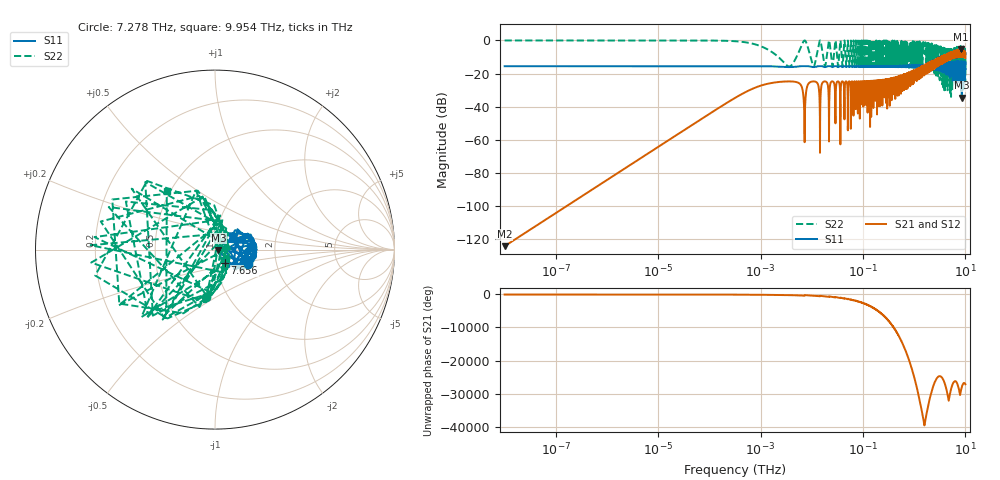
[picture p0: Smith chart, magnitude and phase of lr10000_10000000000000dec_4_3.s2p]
! NPort=2 DATA=4501 NOISE=0 GROUPDELAY=0 COMPLEX_DATAFORMAT=RI
! NumOfBlock=1 NumOfParam=0
! .MODEL Smodel S TSTONEFILE=./link_rx/link_rx_s3/lr10000_10000000000000dec_4_3.s2p TYPE=S
!  -- The above .MODEL line can be used for the S element in the netlist.
# Hz S RI R  50
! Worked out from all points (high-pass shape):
!   4501 points, 10 kHz to 10 THz, reference 50 ohm
!   highest |S21| = -5.13 dB at 8.279 THz (marker M1); lowest = -124.3 dB at 10 kHz (marker M2)
!   |S21| within 3 dB of the highest: 6.178 THz to 6.41 THz (232.8 GHz wide, 3.7 % of centre); 8.033 THz to 8.151 THz (118.6 GHz wide, 1.47 % of centre)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
!   lowest |S11| = -34.5 dB at 8.511 THz (marker M3), VSWR 1.04, Z = 51.9 - j0.225 ohm
!   |S11| at or under -10 dB: start of sweep to end of sweep
!   |S22| runs from -34.1 to 0.0 dB; largest |S21 - S12| = 1e-11
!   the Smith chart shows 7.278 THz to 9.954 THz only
!   S11 on the Smith chart (normalised r, x): 7.278 THz: 1.44, -0.23; 7.656 THz: 1.10, -0.16; 9.954 THz: 1.21, +0.19
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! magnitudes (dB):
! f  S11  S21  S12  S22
! 10 kHz  -15.6  -124.3  -124.3  0.0
! 316.2 kHz  -15.6  -94.3  -94.3  0.0
! 1.652 MHz  -15.6  -79.9  -79.9  0.0
! 10 MHz  -15.6  -64.3  -64.3  0.0
! 316.2 MHz  -15.5  -34.7  -34.7  -0.5
! 1.164 GHz  -15.5  -26.7  -26.7  -4.3
! 3.597 GHz  -16.1  -24.7  -24.7  -15.7
! 5.834 GHz  -15.6  -26.2  -26.2  -5.6
! 7.278 GHz  -15.6  -50.8  -50.8  0.0
! 10 GHz  -16.0  -24.9  -24.9  -12.8
! 11.32 GHz  -16.1  -24.8  -24.8  -14.8
! 14.39 GHz  -15.6  -47.1  -47.1  0.0
! 17.95 GHz  -16.1  -24.7  -24.7  -15.6
! 21.58 GHz  -15.6  -43.3  -43.3  -0.1
! 25.23 GHz  -16.1  -24.7  -24.7  -15.6
! 316.2 GHz  -16.0  -25.7  -25.7  -11.8
! 7.278 THz  -13.9  -9.2  -9.2  -11.4
! 7.656 THz  -20.7  -5.9  -5.9  -4.3
! 8.279 THz  -30.4  -5.1  -5.1  -3.2
! 8.511 THz  -34.5  -5.1  -5.1  -3.2
! 9.954 THz  -17.8  -8.0  -8.0  -7.5
! 10 THz  -13.1  -10.4  -10.4  -25.4
